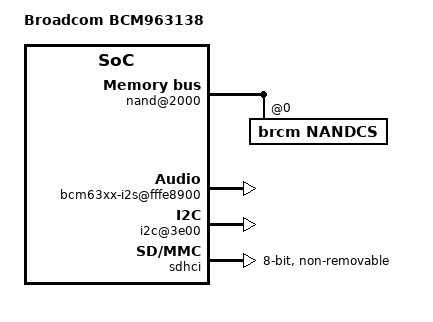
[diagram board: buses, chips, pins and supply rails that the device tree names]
/*
 * Broadcom BCM63138 Reference Board DTS
 */

/dts-v1/;
/memreserve/ 0x00000000 0x00008000;

#include "../bcm_963xx_template.dtsi"
#include <dt-bindings/interrupt-controller/arm-gic.h>

/ {
	compatible = "brcm,bcm963138";
	model = "Broadcom BCM963138";
	interrupt-parent = <&gic>;

	cpus {
		#address-cells = <1>;
		#size-cells = <0>;

		CPU0: cpu@0 {
			device_type = "cpu";
			compatible = "arm,cortex-a9";
			reg = <0>;
			next-level-cache = <&L2>;
		};

		CPU1: cpu@1 {
			device_type = "cpu";
			compatible = "arm,cortex-a9";
			reg = <1>;
			next-level-cache = <&L2>;
#if defined (CONFIG_OPTEE)
			enable-method = "psci";
#else
			enable-method = "brcm,bca-smp";
#endif
		};
	};


	/* increase coherent_pool size for ARM-based chip */
	chosen {
		bootargs = "console=ttyS0,115200 debug irqaffinity=0 coherent_pool=1M cpuidle_sysfs_switch pci=pcie_bus_safe";
	};

#if defined (CONFIG_OPTEE)
	psci {
		compatible	= "arm,psci-0.2";
		method		= "smc";
		cpu_off		= <1>;
		cpu_on		= <2>;
	};

	firmware {
		optee {
			compatible = "linaro,optee-tz";
			method = "smc";
		};
	};
#endif

	/* ARM bus */
	axi@80018000 {
		compatible = "simple-bus";
		ranges = <0 0x80018000 0x20000>;
		#address-cells = <1>;
		#size-cells = <1>;

		L2: cache-controller@5000 {
			compatible = "arm,pl310-cache";
			reg = <0x5000 0x1000>;
			cache-unified;
			cache-level = <2>;
		};

		gic: interrupt-controller@7000 {
			compatible = "arm,cortex-a9-gic";
			#interrupt-cells = <3>;
			#address-cells = <0>;
			interrupt-controller;
			reg = <0x7000 0x1000>, <0x6100 0x0100>;
		};
	};

	/* Legacy UBUS base */
	ubus@fffe8000 {
		compatible = "simple-bus";
		#address-cells = <1>;
		#size-cells = <1>;
		ranges = <0 0xfffe8000 0x8000>;

		nand@2000 {
			#address-cells = <1>;
			#size-cells = <0>;
			compatible = "brcm,nand-bcm63xx", "brcm,brcmnand-v7.0";
			reg = <0x2000 0x600>, <0xf0 0x10>;
			reg-names = "nand", "nand-int-base";
			status = "okay";

			nandcs@0 {
				compatible = "brcm,nandcs";
				reg = <0>;
				nand-on-flash-bbt;
			};

		};

		watchdog@a8 {
			compatible = "brcm,bcm96xxx-wdt";
			reg = <0xa8 0x10>;
			timeout-sec = <80>;
		};

		bcm63xx-i2s@fffe8900 {
			compatible = "brcm,bcm63xx-i2s";
			reg = <0x900 0x2d>; 
		};

		i2c@3e00 {
			compatible = "brcm,bcm63000-i2c";
			reg = <0x3e00 0x60>;
		};
	};

	sdhci: sdhci@fffec000 {
		compatible = "brcm,bcm63xx-sdhci";
		#address-cells = <1>;
		#size-cells = <1>;
		reg = <0xfffec000 0x100>;
		bus-width = <8>;
		non-removable;
	};

	pmu {
		compatible = "arm,cortex-a9-pmu";
		interrupts = <GIC_SPI 8 IRQ_TYPE_LEVEL_HIGH>,
			     <GIC_SPI 9 IRQ_TYPE_LEVEL_HIGH>;
		interrupt-affinity = <&CPU0>, <&CPU1>;
	};

        pcm5100 {
              compatible = "ti,pcm5100-dac";
	};

        bcm63xx-pcm-audio {
              compatible = "brcm,bcm63xx-pcm-audio";
        };
};
